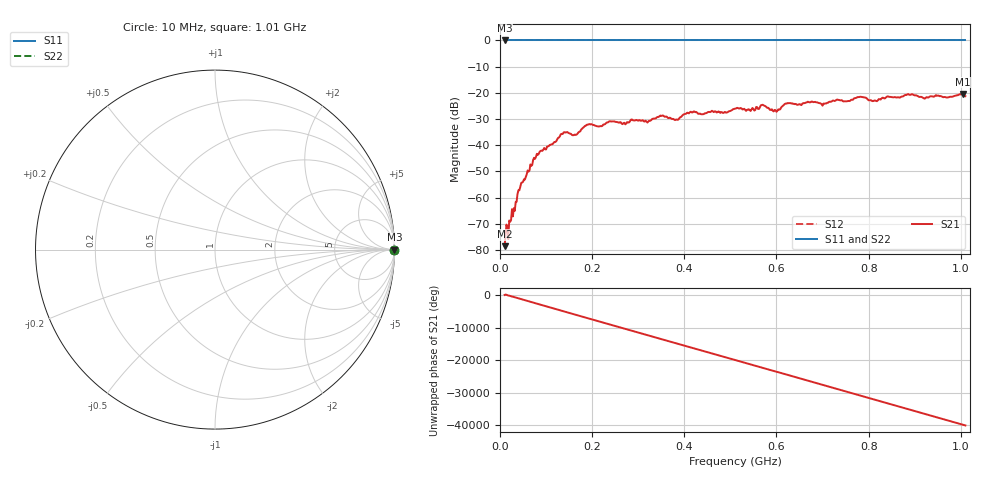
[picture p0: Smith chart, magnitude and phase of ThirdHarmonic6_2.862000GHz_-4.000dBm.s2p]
! 8/17/2025 7:47:41 AM
! C:\ANRITSUVNA\TEMP\TEMP.S2P
! CHANNEL.1
! TR.MEASUREMENT
! RAW.DATA
! RF.CORRECTION.OFF
! AVERAGING.OFF
! IF.BANDWIDTH: 5KHZ
! SWEEPTYPE:  FREQ.SWEEP(Linear)
! Reference Plane Port Info
! PORT:  PORT1  PORT2
! DISTANCE:  0  m  0  m
! TIME:  0  s  0  s
! PHASE.OFFSET:  0  deg.  0  deg.
! LOSS:  0  dB  0  dB
! REF.LOSS:  0  dB  0  dB
! REF.FREQ:  0  Hz  0  Hz
! Power Info
! POWER:  -20  dBm  -20  dBm
! EFF.POWER:  -20  dBm  -20  dBm
! SOURCE.ATTEN:  0  dB  0  dB
! TEST.ATTEN:  0  dB  0  dB
# GHZ S RI R 50.0
! FREQ.GHZ  S11RE  S11IM  S21RE  S21IM  S12RE  S12IM  S22RE  S22IM
!; PortSelection: Port_12
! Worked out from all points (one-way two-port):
!   501 points, 10 MHz to 1.01 GHz, reference 50 ohm
!   highest |S21| = -20.41 dB at 1.004 GHz (marker M1); lowest = -78.6 dB at 10 MHz (marker M2)
!   lowest |S11| = 0.0 dB at 10 MHz (marker M3)
!   |S11| at or under -10 dB: nowhere
!   |S22| runs from 0.0 to 0.0 dB; largest |S21 - S12| = 1.1
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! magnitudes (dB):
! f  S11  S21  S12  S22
! 10 MHz  0.0  -78.6  0.0  0.0
! 42 MHz  0.0  -57.2  0.0  0.0
! 76 MHz  0.0  -45.2  0.0  0.0
! 136 MHz  0.0  -35.7  0.0  0.0
! 162 MHz  0.0  -35.9  0.0  0.0
! 178 MHz  0.0  -33.7  0.0  0.0
! 192 MHz  0.0  -32.1  0.0  0.0
! 322 MHz  0.0  -30.9  0.0  0.0
! 344 MHz  0.0  -29.2  0.0  0.0
! 382 MHz  0.0  -30.2  0.0  0.0
! 416 MHz  0.0  -27.5  0.0  0.0
! 510 MHz  0.0  -26.1  0.0  0.0
! 570 MHz  0.0  -24.6  0.0  0.0
! 598 MHz  0.0  -26.7  0.0  0.0
! 622 MHz  0.0  -24.1  0.0  0.0
! 678 MHz  0.0  -23.4  0.0  0.0
! 702 MHz  0.0  -24.1  0.0  0.0
! 780 MHz  0.0  -21.6  0.0  0.0
! 814 MHz  0.0  -22.9  0.0  0.0
! 844 MHz  0.0  -21.5  0.0  0.0
! 1.004 GHz  0.0  -20.4  0.0  0.0
! 1.01 GHz  0.0  -21.3  0.0  0.0
